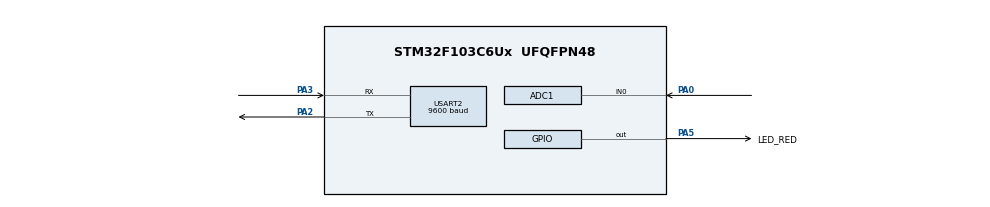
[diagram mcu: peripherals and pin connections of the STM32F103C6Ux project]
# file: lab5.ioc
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ADC1.Channel-0\#ChannelRegularConversion=ADC_CHANNEL_0
ADC1.ContinuousConvMode=ENABLE
ADC1.NbrOfConversionFlag=1
ADC1.Rank-0\#ChannelRegularConversion=1
ADC1.SamplingTime-0\#ChannelRegularConversion=ADC_SAMPLETIME_1CYCLE_5
ADC1.master=1
Mcu.Family=STM32F1
Mcu.Name=STM32F103C6Ux
Mcu.Package=UFQFPN48
NVIC.PriorityGroup=NVIC_PRIORITYGROUP_4
NVIC.USART2_IRQn=true\:0\:0\:false\:false\:true\:true\:true
PA0-WKUP.Signal=ADCx_IN0
PA2.Mode=Asynchronous
PA2.Signal=USART2_TX
PA3.Mode=Asynchronous
PA3.Signal=USART2_RX
PA5.GPIO_Label=LED_RED
PA5.Signal=GPIO_Output
ProjectManager.HeapSize=0x200
ProjectManager.StackSize=0x400
ProjectManager.TargetToolchain=STM32CubeIDE
RCC.APB1Freq_Value=8000000
RCC.APB2Freq_Value=8000000
SH.ADCx_IN0.0=ADC1_IN0,IN0
USART2.BaudRate=9600
USART2.VirtualMode=VM_ASYNC
VP_SYS_VS_ND.Mode=No_Debug
board=custom

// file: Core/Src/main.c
/* USER CODE BEGIN Header */
/**
  ******************************************************************************
  * @file           : main.c
  * @brief          : Main program body
  ******************************************************************************
  * @attention
  *
  * <h2><center>&copy; Copyright (c) 2025 STMicroelectronics.
  * All rights reserved.</center></h2>
  *
  * This software component is licensed by ST under BSD 3-Clause license,
  * the "License"; You may not use this file except in compliance with the
  * License. You may obtain a copy of the License at:
  *                        opensource.org/licenses/BSD-3-Clause
  *
  ******************************************************************************
  */
/* USER CODE END Header */
#include "main.h"

/* USER CODE BEGIN Includes */
#include <stdio.h>
#include <string.h>
#include "command_parser_fsm.h"
#include "uart_comm_fsm.h"

/* USER CODE END Includes */

ADC_HandleTypeDef hadc1;

UART_HandleTypeDef huart2;

/* USER CODE BEGIN PV */

uint8_t temp = 0;

/* USER CODE END PV */

void SystemClock_Config(void);
static void MX_GPIO_Init(void);
static void MX_ADC1_Init(void);
static void MX_USART2_UART_Init(void);

/* USER CODE BEGIN 0 */

void HAL_UART_RxCpltCallback(UART_HandleTypeDef *huart) {
    if (huart->Instance == USART2) {
        buffer[index_buffer++] = temp;
        if (index_buffer >= MAX_BUFFER_SIZE) index_buffer = 0;
        buffer_flag = 1;
        HAL_UART_Receive_IT(&huart2, &temp, 1);
    }
}
/* USER CODE END 0 */

int main(void)
{

  /* MCU Configuration--------------------------------------------------------*/

  /* Reset of all peripherals, Initializes the Flash interface and the Systick. */
  HAL_Init();

  /* Configure the system clock */
  SystemClock_Config();

  /* Initialize all configured peripherals */
  MX_GPIO_Init();
  MX_USART2_UART_Init();
  MX_ADC1_Init();
  /* USER CODE BEGIN 2 */
  HAL_UART_Receive_IT(&huart2, &temp, 1);
  /* USER CODE END 2 */

  /* Infinite loop */
  /* USER CODE BEGIN WHILE */
  while (1)
  {
	  if (buffer_flag == 1) {
			command_parser_fsm();
			HAL_GPIO_TogglePin(LED_RED_GPIO_Port, LED_RED_Pin);
			buffer_flag = 0;
		}

		uart_communication_fsm();
    /* USER CODE END WHILE */

  }
}

void SystemClock_Config(void)
{
  RCC_OscInitTypeDef RCC_OscInitStruct = {0};
  RCC_ClkInitTypeDef RCC_ClkInitStruct = {0};
  RCC_PeriphCLKInitTypeDef PeriphClkInit = {0};

  /** Initializes the RCC Oscillators according to the specified parameters
  * in the RCC_OscInitTypeDef structure.
  */
  RCC_OscInitStruct.OscillatorType = RCC_OSCILLATORTYPE_HSI;
  RCC_OscInitStruct.HSIState = RCC_HSI_ON;
  RCC_OscInitStruct.HSICalibrationValue = RCC_HSICALIBRATION_DEFAULT;
  RCC_OscInitStruct.PLL.PLLState = RCC_PLL_NONE;
  if (HAL_RCC_OscConfig(&RCC_OscInitStruct) != HAL_OK)
  {
    Error_Handler();
  }
  /** Initializes the CPU, AHB and APB buses clocks
  */
  RCC_ClkInitStruct.ClockType = RCC_CLOCKTYPE_HCLK|RCC_CLOCKTYPE_SYSCLK
                              |RCC_CLOCKTYPE_PCLK1|RCC_CLOCKTYPE_PCLK2;
  RCC_ClkInitStruct.SYSCLKSource = RCC_SYSCLKSOURCE_HSI;
  RCC_ClkInitStruct.AHBCLKDivider = RCC_SYSCLK_DIV1;
  RCC_ClkInitStruct.APB1CLKDivider = RCC_HCLK_DIV1;
  RCC_ClkInitStruct.APB2CLKDivider = RCC_HCLK_DIV1;

  if (HAL_RCC_ClockConfig(&RCC_ClkInitStruct, FLASH_LATENCY_0) != HAL_OK)
  {
    Error_Handler();
  }
  PeriphClkInit.PeriphClockSelection = RCC_PERIPHCLK_ADC;
  PeriphClkInit.AdcClockSelection = RCC_ADCPCLK2_DIV2;
  if (HAL_RCCEx_PeriphCLKConfig(&PeriphClkInit) != HAL_OK)
  {
    Error_Handler();
  }
}

static void MX_ADC1_Init(void)
{

  ADC_ChannelConfTypeDef sConfig = {0};

  /** Common config
  */
  hadc1.Instance = ADC1;
  hadc1.Init.ScanConvMode = ADC_SCAN_DISABLE;
  hadc1.Init.ContinuousConvMode = ENABLE;
  hadc1.Init.DiscontinuousConvMode = DISABLE;
  hadc1.Init.ExternalTrigConv = ADC_SOFTWARE_START;
  hadc1.Init.DataAlign = ADC_DATAALIGN_RIGHT;
  hadc1.Init.NbrOfConversion = 1;
  if (HAL_ADC_Init(&hadc1) != HAL_OK)
  {
    Error_Handler();
  }
  /** Configure Regular Channel
  */
  sConfig.Channel = ADC_CHANNEL_0;
  sConfig.Rank = ADC_REGULAR_RANK_1;
  sConfig.SamplingTime = ADC_SAMPLETIME_1CYCLE_5;
  if (HAL_ADC_ConfigChannel(&hadc1, &sConfig) != HAL_OK)
  {
    Error_Handler();
  }

}

static void MX_USART2_UART_Init(void)
{

  huart2.Instance = USART2;
  huart2.Init.BaudRate = 9600;
  huart2.Init.WordLength = UART_WORDLENGTH_8B;
  huart2.Init.StopBits = UART_STOPBITS_1;
  huart2.Init.Parity = UART_PARITY_NONE;
  huart2.Init.Mode = UART_MODE_TX_RX;
  huart2.Init.HwFlowCtl = UART_HWCONTROL_NONE;
  huart2.Init.OverSampling = UART_OVERSAMPLING_16;
  if (HAL_UART_Init(&huart2) != HAL_OK)
  {
    Error_Handler();
  }

}

static void MX_GPIO_Init(void)
{
  GPIO_InitTypeDef GPIO_InitStruct = {0};

  /* GPIO Ports Clock Enable */
  __HAL_RCC_GPIOA_CLK_ENABLE();

  /*Configure GPIO pin Output Level */
  HAL_GPIO_WritePin(LED_RED_GPIO_Port, LED_RED_Pin, GPIO_PIN_RESET);

  /*Configure GPIO pin : LED_RED_Pin */
  GPIO_InitStruct.Pin = LED_RED_Pin;
  GPIO_InitStruct.Mode = GPIO_MODE_OUTPUT_PP;
  GPIO_InitStruct.Pull = GPIO_NOPULL;
  GPIO_InitStruct.Speed = GPIO_SPEED_FREQ_LOW;
  HAL_GPIO_Init(LED_RED_GPIO_Port, &GPIO_InitStruct);

}

void Error_Handler(void)
{
  __disable_irq();
  while (1)
  {
  }
}

/************************ (C) COPYRIGHT STMicroelectronics *****END OF FILE****/
